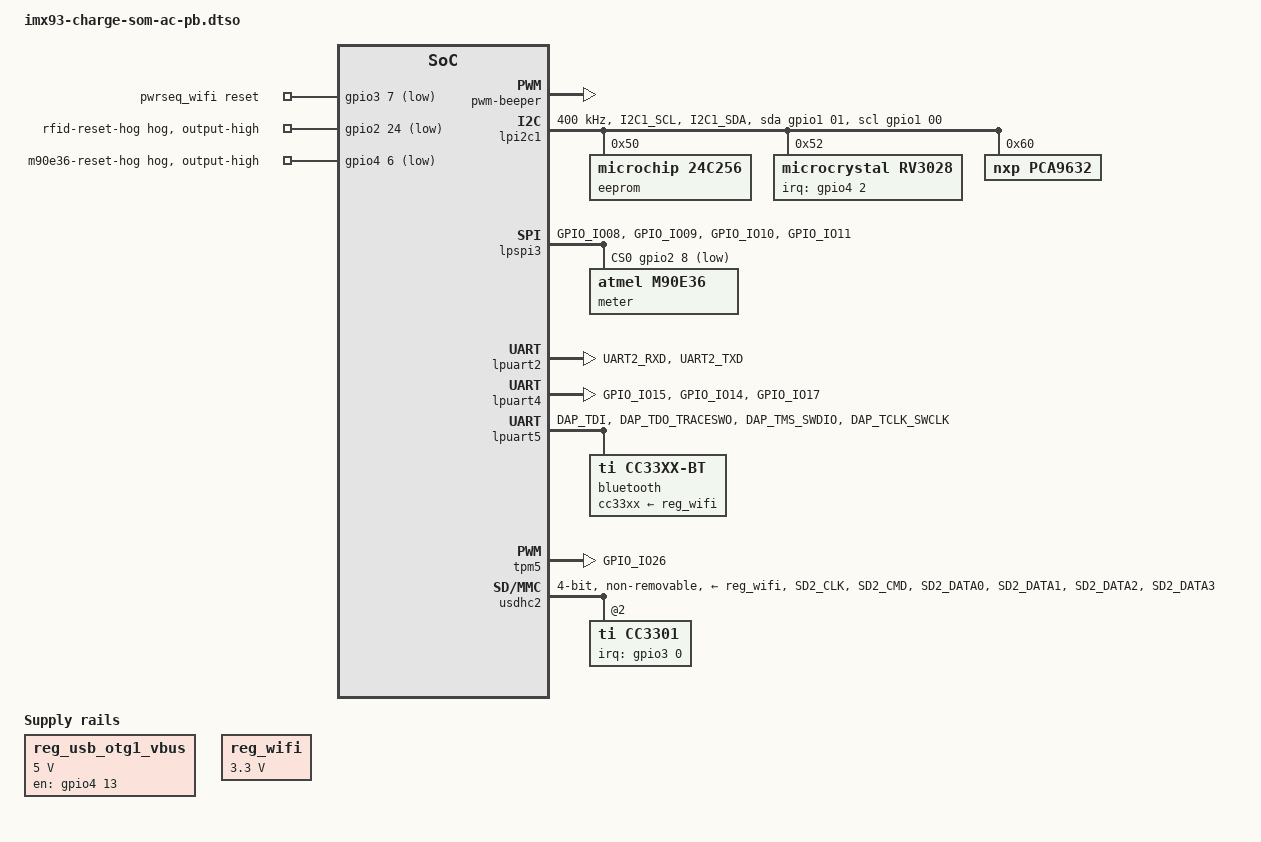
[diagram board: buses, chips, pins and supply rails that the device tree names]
// SPDX-License-Identifier: (GPL-2.0+ OR MIT)
/*
 * Copyright (C) 2026 chargebyte GmbH
 */

/dts-v1/;
/plugin/;

#include <dt-bindings/gpio/gpio.h>
#include <dt-bindings/interrupt-controller/irq.h>
#include <dt-bindings/leds/common.h>
#include "imx93-pinfunc.h"

&{/} {
	model = "chargebyte AC Power board";
	compatible = "chargebyte,imx93-ac-power-board", "chargebyte,imx93-charge-som",
		     "phytec,imx93-phycore-som", "fsl,imx93";

	aliases {
		rtc0 = &rv3028;
	};
	
	pwm-beeper {
		compatible = "pwm-beeper";
		pwms = <&tpm5 0 5000 0>;
		// beeper-hz = <1000>;
	};

	pwrseq_wifi: pwrseq-wifi {
		compatible = "mmc-pwrseq-simple";
		reset-gpios = <&gpio3 7 GPIO_ACTIVE_LOW>;
		post-power-on-delay-ms = <10>;
		power-off-delay-us = <80>;
	};

	reg_usb_otg1_vbus: regulator-usb-otg1-vbus {
		pinctrl-names = "default";
		pinctrl-0 = <&pinctrl_usbotg1grp>;
		compatible = "regulator-fixed";
		regulator-name = "usb_otg1_vbus";
		regulator-min-microvolt = <5000000>;
		regulator-max-microvolt = <5000000>;
		gpio = <&gpio4 13 GPIO_ACTIVE_HIGH>;
		enable-active-high;
		regulator-boot-on;
	};
	
	reg_wifi: regulator-wifi {
		compatible = "regulator-fixed";
		regulator-max-microvolt = <3300000>;
		regulator-min-microvolt = <3300000>;
		regulator-name = "VCC_3V3";
		enable-active-high;
		regulator-always-on;
	};
};

&bbnsm_pwrkey {
	status = "disabled";
};

/* Ethernet */
&ethphy1 {
	ti,leds-polarity = <1>;
};

&gpio1 {
	pinctrl-names = "default";
	pinctrl-0 = <&pinctrl_current>;
	// 16 pins (0..15)
	gpio-line-names = "I2C1_SCL", "I2C1_SDA", "", "", "", "", "LPUART2_RX", "LPUART2_TX", "CURRENT_SETTING_2", "CURRENT_SETTING_1", \
			  "", "SPI_TPM_nCS0", "", "", "", "";
};

&gpio2 {
	pinctrl-names = "default";
	pinctrl-0 = <&pinctrl_rfid>, <&pinctrl_input>, <&pinctrl_output>;
	// 30 pins (0..29)
	gpio-line-names = "SPI_PLC_nCS0", "", "", "", "", "", "", "SPI_PLC_nINT0", "SPI_EXT_CS0", "SPI_EXT_MISO", \
			  "SPI_EXT_MOSI", "SPI_EXT_CLK", "", "", "LPUART4_TX", "LPUART4_RX", "", "LPUART4_RTS_B", "DIGITAL_OUTPUT_3", "", \
			  "", "", "DIGITAL_INPUT_1", "GPIO_IO23", "nRESET_RFID", "nIRQ_BLE", "BUZZER", "OUTPUT_nFAIL", "", "";

	rfid-reset-hog {
		gpio-hog;
		gpios = <24 GPIO_ACTIVE_LOW>;
		output-high;
	};
};

&gpio3 {
	pinctrl-names = "default";
	pinctrl-0 = <&pinctrl_wifi_rst>;
	// 32 pins (0..31)
	gpio-line-names = "nIRQ_WL", "", "", "", "", "", "", "nRESET_WL", "", "", \
			  "", "", "", "", "", "", "", "", "", "", \
			  "SOM_EMMC_nRESET", "DIGITAL_INPUT_2", "DIGITAL_INPUT_3", "DIGITAL_INPUT_4", "DIGITAL_OUTPUT_1", "DIGITAL_OUTPUT_2", "CURRENT_SETTING_3", "CURRENT_SETTING_4", "LPUART5_RX", "LPUART5_RTS_B", \
			  "LPUART5_CTS", "LPUART5_TX";
};

&gpio4 {
	pinctrl-names = "default";
	pinctrl-0 = <&pinctrl_m90e36_rst>, <&pinctrl_factory_rst>;
	// 30 pins (0..29)
	gpio-line-names = "USB1_ID", "", "RTC_nINT", "FACTORY_RESET", "USB1_OC", "", "nRESET_ATM90E36", "DL_REQ_INTR_SPI", "ATM90E36_IRQ", "nPLC_RESET_INT", \
			  "", "WS2812B", "SAFETY_BOOTMODE_SET", "USB1_PWREN_GPIO", "", "", "DIGITAL_OUTPUT_4", "", "", "", \
			  "", "SOM_EEPROM_WP", "", "SOM_PHY_RESET", "", "", "RESIDUAL_CURRENT", "PMIC_IRQ_B", "nSAFETY_RESET_INT", "SPI_TPM_nINT0";

	m90e36-reset-hog {
		gpio-hog;
		gpios = <6 GPIO_ACTIVE_LOW>;
		output-high;
	};
};

&iomuxc {
	/* need to config the SION for data and cmd pad, refer to ERR052021 */
	pinctrl_usdhc2_default: usdhc2grp {
		fsl,pins = <
			MX93_PAD_SD2_CLK__USDHC2_CLK		0x179e
			MX93_PAD_SD2_CMD__USDHC2_CMD		0x4000139e
			MX93_PAD_SD2_DATA0__USDHC2_DATA0	0x4000138e
			MX93_PAD_SD2_DATA1__USDHC2_DATA1	0x4000138e
			MX93_PAD_SD2_DATA2__USDHC2_DATA2	0x4000138e
			MX93_PAD_SD2_DATA3__USDHC2_DATA3	0x4000139e
		>;
	};

	pinctrl_lpi2c1: lpi2c1grp {
		/* sion, drive strength: X2, slew rate: fast, pull up, open drain */
		fsl,pins = <
			MX93_PAD_I2C1_SCL__LPI2C1_SCL		0x40000b86
			MX93_PAD_I2C1_SDA__LPI2C1_SDA		0x40000b86
		>;
	};

	pinctrl_lpi2c1_gpio: lpi2c1gpiogrp {
		fsl,pins = <
			MX93_PAD_I2C1_SCL__GPIO1_IO00		0x40000b9e
			MX93_PAD_I2C1_SDA__GPIO1_IO01		0x40000b9e
		>;
	};

	pinctrl_lpspi3: lpspi3grp {
		/* drive strength: X2, slew rate: fast, no pull */
		fsl,pins = <
			MX93_PAD_GPIO_IO08__GPIO2_IO08		0x186 // SPI_EXT_CS0
			MX93_PAD_GPIO_IO09__LPSPI3_SIN		0x186
			MX93_PAD_GPIO_IO10__LPSPI3_SOUT		0x186
			MX93_PAD_GPIO_IO11__LPSPI3_SCK		0x186
		>;
	};

	pinctrl_uart2: uart2grp {
		fsl,pins = <
			MX93_PAD_UART2_RXD__LPUART2_RX		0x31e // drive strength: X4, slew rate: slightly fast, pull up
			MX93_PAD_UART2_TXD__LPUART2_TX 		0x30e // drive strength: X3, slew rate: slightly fast, pull up
		>;
	};

	pinctrl_usbotg1grp: usb1grp {
		fsl,pins = <
			MX93_PAD_ENET1_TD1__HSIOMIX_OTG_OC1	0x31e
			MX93_PAD_ENET1_RD3__GPIO4_IO13		0x31e // USB1_PWREN_GPIO
			// MX93_PAD_ENET1_MDIO__HSIOMIX_OTG_PWR1 not connected
		>;
	};

	pinctrl_current: currentgrp {
		fsl,pins = <
			MX93_PAD_PDM_BIT_STREAM0__GPIO1_IO09	0x31e // Current Setting 1
			MX93_PAD_PDM_CLK__GPIO1_IO08		0x31e // Current Setting 2
			MX93_PAD_CCM_CLKO1__GPIO3_IO26		0x31e // Current Setting 3
			MX93_PAD_CCM_CLKO2__GPIO3_IO27		0x31e // Current Setting 4
		>;
	};

	pinctrl_input: inputgrp {
		fsl,pins = <
			MX93_PAD_GPIO_IO22__GPIO2_IO22		0x31e // INPUT_1
			MX93_PAD_SD3_CMD__GPIO3_IO21		0x31e // INPUT_2
			MX93_PAD_SD3_DATA0__GPIO3_IO22		0x31e // INPUT_3
			MX93_PAD_SD3_DATA1__GPIO3_IO23		0x31e // INPUT_4
		>;
	};
	
	pinctrl_output: outputgrp {
		fsl,pins = <
			MX93_PAD_GPIO_IO27__GPIO2_IO27		0x31e // OUTPUT_nFAIL
			MX93_PAD_SD3_DATA2__GPIO3_IO24		0x31e // OUTPUT_1
			MX93_PAD_SD3_DATA3__GPIO3_IO25		0x31e // OUTPUT_2
			MX93_PAD_GPIO_IO18__GPIO2_IO18		0x31e // OUTPUT_3
			MX93_PAD_ENET2_TD3__GPIO4_IO16		0x31e // OUTPUT_4
		>;
	};

	pinctrl_rtc: rtcgrp {
		fsl,pins = <
			MX93_PAD_ENET1_TD3__GPIO4_IO02		0x31e // RTC_nINT
		>;
	};

	pinctrl_uart4: uart4grp {
		fsl,pins = <
			MX93_PAD_GPIO_IO15__LPUART4_RX		0x31e // drive strength: X4, slew rate: slightly fast, pull up
			MX93_PAD_GPIO_IO14__LPUART4_TX		0x30e // drive strength: X3, slew rate: slightly fast, pull up
			MX93_PAD_GPIO_IO17__LPUART4_RTS_B	0x31e // drive strength: X4, slew rate: slightly fast, pull up
		>;
	};

	pinctrl_uart5: uart5grp {
		fsl,pins = <
			MX93_PAD_DAP_TDI__LPUART5_RX		0x31e 
			MX93_PAD_DAP_TDO_TRACESWO__LPUART5_TX	0x30e 
			MX93_PAD_DAP_TMS_SWDIO__LPUART5_RTS_B	0x31e
			MX93_PAD_DAP_TCLK_SWCLK__LPUART5_CTS_B	0x30e
		>;
	};

	pinctrl_ws2812b: ws2812bgrp {
		fsl,pins = <
			MX93_PAD_ENET1_RD1__FLEXIO2_FLEXIO11	0x31e // WS2812B
		>;
	};

	pinctrl_rfid: rfidgrp {
		fsl,pins = <
			MX93_PAD_GPIO_IO24__TPM3_CH3		0x31e // nRESET_RFID
		>;
	};

	pinctrl_buzzer: buzzergrp {
		fsl,pins = <
			MX93_PAD_GPIO_IO26__TPM5_CH3		0x31e // BUZZER
		>;
	};
	
	pinctrl_wifi_rst: wifirstgrp {
		fsl,pins = <
			MX93_PAD_SD2_RESET_B__GPIO3_IO07	0x31e // nRESET_WL
		>;
	};

	pinctrl_m90e36_rst: m90e36rstgrp {
		fsl,pins = <
			MX93_PAD_ENET1_TX_CTL__GPIO4_IO06	0x31e // nRESET_ATM90E36
		>;
	};

	pinctrl_factory_rst: factoryrstgrp {
		fsl,pins = <
			MX93_PAD_ENET1_TD2__GPIO4_IO03		0x31e // FACTORY_RESET
		>;
	};
};

&lpi2c1 {
	clock-frequency = <400000>;
	pinctrl-names = "default", "gpio";
	pinctrl-0 = <&pinctrl_lpi2c1>;
	pinctrl-1 = <&pinctrl_lpi2c1_gpio>;
	scl-gpios = <&gpio1 00 (GPIO_ACTIVE_HIGH | GPIO_OPEN_DRAIN)>;
	sda-gpios = <&gpio1 01 (GPIO_ACTIVE_HIGH | GPIO_OPEN_DRAIN)>;
	#address-cells = <1>;
	#size-cells = <0>;
	status = "okay";

	eeprom@50 {
		compatible = "microchip,24c256";
		reg = <0x50>;
		pagesize = <64>;
	};

	rv3028: rtc@52 {
		compatible = "microcrystal,rv3028";
		reg = <0x52>;
		pinctrl-names = "default";
		pinctrl-0 = <&pinctrl_rtc>;
		interrupts = <2 IRQ_TYPE_LEVEL_LOW>;
		interrupt-parent = <&gpio4>;
		wakeup-source;
		trickle-resistor-ohms = <3000>;
	};
	
	pca9632: led-controller@60 {
		compatible = "nxp,pca9632";
		reg = <0x60>;
		#address-cells = <1>;
		#size-cells = <0>;

		led@0 {
			reg = <0>;
			color = <LED_COLOR_ID_RED>;
			function = LED_FUNCTION_STATUS;
		};

		led@1 {
			reg = <1>;
			color = <LED_COLOR_ID_GREEN>;
			function = LED_FUNCTION_STATUS;
		};

		led@2 {
			reg = <2>;
			color = <LED_COLOR_ID_BLUE>;
			function = LED_FUNCTION_STATUS;
		};

		led@3 {
			reg = <3>;
			color = <LED_COLOR_ID_WHITE>;
			function = LED_FUNCTION_STATUS;
		};
	};
};

/* Internal powermeter */
&lpspi3 {
	pinctrl-names = "default";
	pinctrl-0 = <&pinctrl_lpspi3>;
	num-cs = <1>;
	cs-gpios = <&gpio2 8 GPIO_ACTIVE_LOW>;
	#address-cells = <1>;
	#size-cells = <0>;
	status = "okay";

	meter@0 {
		compatible = "atmel,m90e36";
		reg = <0>;
	};
};

/* RFID UART */
&lpuart2 {
	pinctrl-names = "default";
	pinctrl-0 = <&pinctrl_uart2>;
	status = "okay";
};

/* RS485 */
&lpuart4 {
	pinctrl-names = "default";
	pinctrl-0 = <&pinctrl_uart4>;
	rs485-rts-active-high;
	linux,rs485-enabled-at-boot-time;
	status = "okay";
};

/* Bluetooth */
&lpuart5 {
	pinctrl-names = "default";
	pinctrl-0 = <&pinctrl_uart5>;
	uart-has-rtscts;
	status = "okay";

	bluetooth {
		compatible = "ti,cc33xx-bt";
		cc33xx-supply = <&reg_wifi>;
		max-speed = <115200>;
 	};
};

/* Buzzer */
&tpm5 {
	pinctrl-names = "default";
	pinctrl-0 = <&pinctrl_buzzer>;
	status = "okay";
};

/* Wifi */
&usdhc2 {
	pinctrl-names = "default";
	pinctrl-0 = <&pinctrl_usdhc2_default>;
	bus-width = <4>;
	keep-power-in-suspend;
	cap-power-off-card;
	non-removable;
	mmc-pwrseq = <&pwrseq_wifi>;
	vmmc-supply = <&reg_wifi>;
	// max-frequency = <10000000>;
	#address-cells = <1>;
	#size-cells = <0>;
	status = "okay";

	cc3301: wifi@2 {
		compatible = "ti,cc3301", "ti,cc3300";
		reg = <2>;
		interrupts = <0 IRQ_TYPE_EDGE_RISING>;
		interrupt-parent = <&gpio3>;
	};
};
